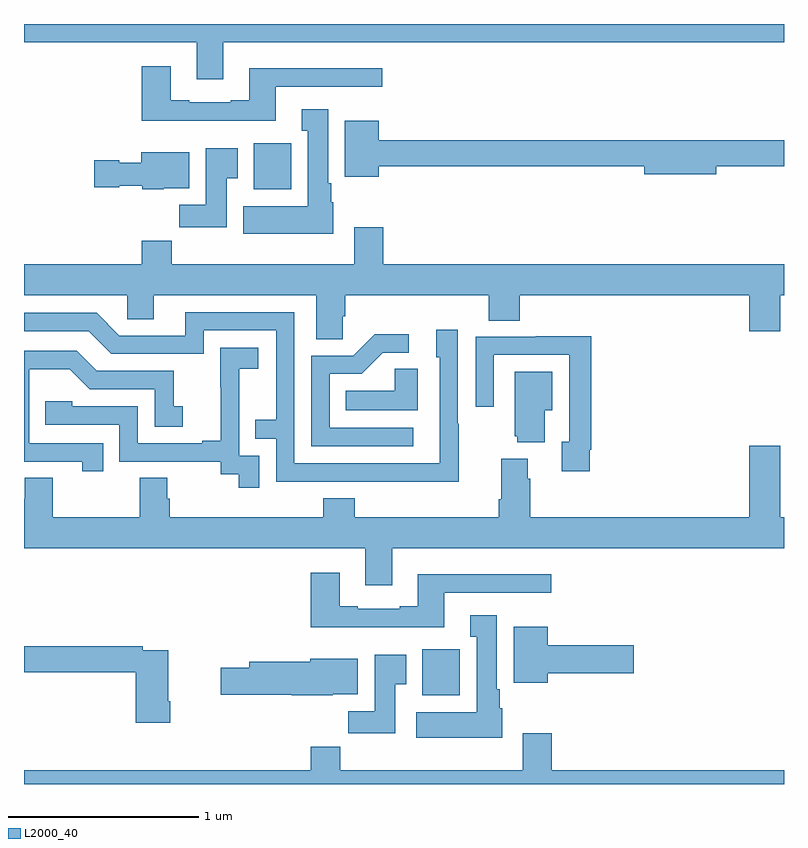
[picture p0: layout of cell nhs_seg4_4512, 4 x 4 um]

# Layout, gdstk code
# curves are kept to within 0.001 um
import gdstk
lib = gdstk.Library(unit=1e-6, precision=1e-09)
def R(c, l, rs):  # rectangles x0, y0, x1, y1
    for r in rs: c.add(gdstk.rectangle(r[:2], r[2:], *l))
def P(c, l, *ps):  # polygons
    for p in ps: c.add(gdstk.Polygon(p, *l))
L2000_40 = (2000, 40)

nhs_seg4_4512 = lib.new_cell('nhs_seg4_4512')
R(nhs_seg4_4512, L2000_40, [(355.097,809.366,355.294,809.608), (354.209,812.03,354.406,812.272)])
P(nhs_seg4_4512, L2000_40, [(354.049,812.804),(357,812.804),(357,812.9),(353,812.9),(353,812.804),(353.909,812.804),(353.909,812.61),(354.049,812.61)],
  [(354.325,812.571),(354.886,812.571),(354.886,812.668),(354.185,812.668),(354.185,812.5),(354.089,812.5),(354.089,812.487),(353.869,812.487),(353.869,812.5),(353.773,812.5),(353.773,812.677),(353.621,812.677),(353.621,812.39),(354.325,812.39)],
  [(354.628,811.962),(354.616,811.962),(354.616,812.062),(354.601,812.062),(354.601,812.452),(354.461,812.452),(354.461,812.339),(354.494,812.339),(354.494,811.942),(354.155,811.942),(354.155,811.796),(354.628,811.796)],
  [(354.868,812.152),(356.264,812.152),(356.264,812.11),(356.644,812.11),(356.644,812.152),(357,812.152),(357,812.288),(354.868,812.288),(354.868,812.392),(354.689,812.392),(354.689,812.096),(354.868,812.096)],
  [(354.067,812.089),(354.124,812.089),(354.124,812.245),(353.957,812.245),(353.957,811.948),(353.818,811.948),(353.818,811.83),(354.067,811.83)],
  [(353.736,812.036),(353.869,812.036),(353.869,812.224),(353.618,812.224),(353.618,812.17),(353.502,812.17),(353.502,812.183),(353.37,812.183),(353.37,812.041),(353.502,812.041),(353.502,812.048),(353.622,812.048),(353.622,812.03),(353.736,812.03)],
  [(354.678,811.363),(354.692,811.363),(354.692,811.472),(355.445,811.472),(355.445,811.339),(355.61,811.339),(355.61,811.472),(356.816,811.472),(356.816,811.284),(356.98,811.284),(356.98,811.472),(357,811.472),(357,811.636),(354.89,811.636),(354.89,811.831),(354.737,811.831),(354.737,811.636),(353.777,811.636),(353.777,811.76),(353.621,811.76),(353.621,811.636),(353,811.636),(353,811.472),(353.544,811.472),(353.544,811.345),(353.683,811.345),(353.683,811.472),(354.539,811.472),(354.539,811.24),(354.678,811.24)],
  [(355.287,810.797),(355.284,810.797),(355.284,811.291),(355.169,811.291),(355.169,811.146),(355.188,811.146),(355.188,810.588),(354.423,810.588),(354.423,811.383),(353.849,811.383),(353.849,811.26),(353.502,811.26),(353.382,811.38),(353,811.38),(353,811.284),(353.34,811.284),(353.46,811.164),(353.946,811.164),(353.946,811.287),(354.327,811.287),(354.327,810.818),(354.217,810.818),(354.217,810.717),(354.327,810.717),(354.327,810.492),(355.287,810.491)],
  [(355.048,810.774),(354.609,810.774),(354.609,811.059),(354.778,811.059),(354.889,811.17),(355.024,811.17),(355.024,811.268),(354.845,811.268),(354.732,811.155),(354.513,811.155),(354.513,810.678),(355.048,810.678)],
  [(355.978,810.658),(355.985,810.658),(355.985,811.256),(355.693,811.256),(355.693,811.254),(355.377,811.254),(355.377,810.885),(355.473,810.885),(355.473,811.158),(355.869,811.158),(355.869,810.702),(355.829,810.702),(355.829,810.546),(355.978,810.546)],
  [(354.237,810.627),(354.132,810.627),(354.132,810.857),(354.134,810.857),(354.134,811.085),(354.232,811.085),(354.232,811.195),(354.034,811.195),(354.034,810.989),(354.035,810.989),(354.035,810.706),(353.939,810.706),(353.939,810.693),(353.598,810.693),(353.598,810.888),(353.253,810.888),(353.253,810.915),(353.113,810.915),(353.113,810.792),(353.502,810.792),(353.502,810.597),(354.036,810.597),(354.036,810.529),(354.129,810.529),(354.129,810.459),(354.237,810.459)],
  [(353.417,810.693),(353.028,810.693),(353.028,811.082),(353.242,811.082),(353.346,810.978),(353.688,810.978),(353.688,810.78),(353.836,810.78),(353.836,810.889),(353.787,810.889),(353.787,811.074),(353.383,811.074),(353.278,811.179),(353,811.179),(353,810.597),(353.306,810.597),(353.306,810.546),(353.417,810.546)],
  [(355.072,811.085),(354.951,811.085),(354.951,810.97),(354.694,810.97),(354.694,810.866),(355.072,810.866)],
  [(355.741,810.866),(355.78,810.866),(355.78,811.069),(355.583,811.069),(355.583,810.729),(355.595,810.729),(355.595,810.698),(355.741,810.698)],
  [(354.937,810.14),(357,810.14),(357,810.304),(356.98,810.304),(356.98,810.679),(356.816,810.679),(356.816,810.304),(355.664,810.304),(355.664,810.506),(355.651,810.506),(355.651,810.613),(355.511,810.613),(355.511,810.4),(355.499,810.4),(355.499,810.304),(354.74,810.304),(354.74,810.403),(354.575,810.403),(354.575,810.304),(353.768,810.304),(353.768,810.402),(353.755,810.402),(353.755,810.512),(353.608,810.512),(353.608,810.304),(353.151,810.304),(353.151,810.512),(353.003,810.512),(353.003,810.402),(353,810.402),(353,810.14),(354.797,810.14),(354.797,809.946),(354.937,809.946)],
  [(355.213,809.907),(355.774,809.907),(355.774,810.004),(355.073,810.004),(355.073,809.836),(354.977,809.836),(354.977,809.823),(354.757,809.823),(354.757,809.836),(354.661,809.836),(354.661,810.013),(354.509,810.013),(354.509,809.726),(355.213,809.726)],
  [(355.516,809.298),(355.504,809.298),(355.504,809.398),(355.489,809.398),(355.489,809.788),(355.349,809.788),(355.349,809.675),(355.382,809.675),(355.382,809.278),(355.065,809.278),(355.065,809.144),(355.516,809.144)],
  [(355.756,809.483),(356.209,809.483),(356.209,809.63),(355.756,809.63),(355.756,809.728),(355.577,809.728),(355.577,809.432),(355.756,809.432)],
  [(353.771,809.335),(353.758,809.335),(353.758,809.604),(353.624,809.604),(353.624,809.624),(353,809.624),(353,809.488),(353.588,809.488),(353.588,809.223),(353.771,809.223)],
  [(354.955,809.425),(355.012,809.425),(355.012,809.581),(354.845,809.581),(354.845,809.284),(354.706,809.284),(354.706,809.166),(354.955,809.166)],
  [(354.624,809.372),(354.757,809.372),(354.757,809.56),(354.506,809.56),(354.506,809.543),(354.185,809.543),(354.185,809.513),(354.036,809.513),(354.036,809.371),(354.41,809.371),(354.41,809.366),(354.624,809.366)],
  [(357,808.972),(355.778,808.972),(355.778,809.167),(355.625,809.167),(355.625,808.972),(354.665,808.972),(354.665,809.096),(354.509,809.096),(354.509,808.972),(353,808.972),(353,808.9),(357,808.9)])

lib.write_gds('nhs_seg4_4512.gds')
